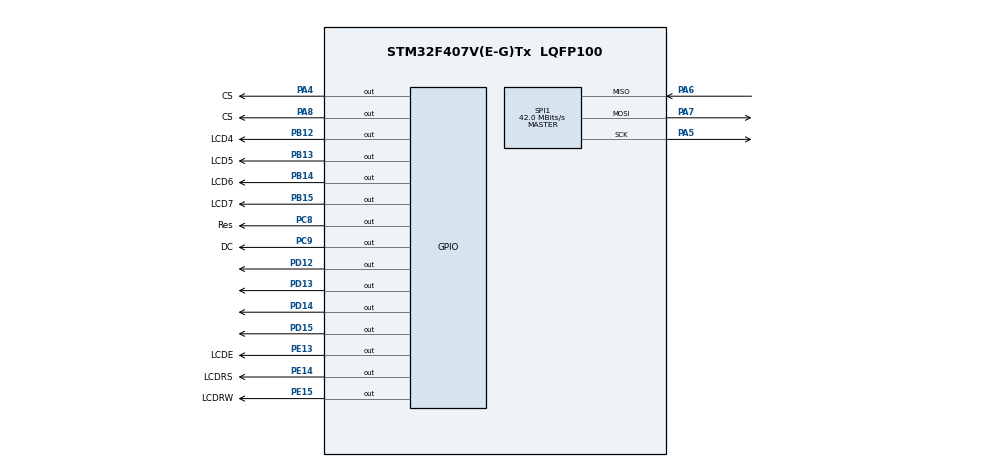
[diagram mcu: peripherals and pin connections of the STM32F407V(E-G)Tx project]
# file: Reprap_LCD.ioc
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Mcu.Family=STM32F4
Mcu.Name=STM32F407V(E-G)Tx
Mcu.Package=LQFP100
NVIC.PriorityGroup=NVIC_PRIORITYGROUP_4
PA13.Mode=Serial_Wire
PA13.Signal=SYS_JTMS-SWDIO
PA14.Mode=Serial_Wire
PA14.Signal=SYS_JTCK-SWCLK
PA4.GPIO_Label=CS
PA4.Signal=GPIO_Output
PA5.Mode=Full_Duplex_Master
PA5.Signal=SPI1_SCK
PA6.Mode=Full_Duplex_Master
PA6.Signal=SPI1_MISO
PA7.Mode=Full_Duplex_Master
PA7.Signal=SPI1_MOSI
PA8.GPIO_Label=CS
PA8.Signal=GPIO_Output
PB12.GPIO_Label=LCD4
PB12.Signal=GPIO_Output
PB13.GPIO_Label=LCD5
PB13.Signal=GPIO_Output
PB14.GPIO_Label=LCD6
PB14.Signal=GPIO_Output
PB15.GPIO_Label=LCD7
PB15.Signal=GPIO_Output
PC8.GPIO_Label=Res
PC8.Signal=GPIO_Output
PC9.GPIO_Label=DC
PC9.Signal=GPIO_Output
PD12.Signal=GPIO_Output
PD13.Signal=GPIO_Output
PD14.Signal=GPIO_Output
PD15.Signal=GPIO_Output
PE13.GPIO_Label=LCDE
PE13.Signal=GPIO_Output
PE14.GPIO_Label=LCDRS
PE14.Signal=GPIO_Output
PE15.GPIO_Label=LCDRW
PE15.Signal=GPIO_Output
PH0-OSC_IN.Mode=HSE-External-Oscillator
PH0-OSC_IN.Signal=RCC_OSC_IN
PH1-OSC_OUT.Mode=HSE-External-Oscillator
PH1-OSC_OUT.Signal=RCC_OSC_OUT
ProjectManager.HeapSize=0x200
ProjectManager.StackSize=0x400
ProjectManager.TargetToolchain=MDK-ARM V5.27
RCC.48MHZClocksFreq_Value=84000000
RCC.AHBFreq_Value=168000000
RCC.APB1CLKDivider=RCC_HCLK_DIV4
RCC.APB1Freq_Value=42000000
RCC.APB1TimFreq_Value=84000000
RCC.APB2CLKDivider=RCC_HCLK_DIV2
RCC.APB2Freq_Value=84000000
RCC.APB2TimFreq_Value=168000000
RCC.CortexFreq_Value=168000000
RCC.HCLKFreq_Value=168000000
RCC.HSE_VALUE=8000000
RCC.HSI_VALUE=16000000
RCC.LSE_VALUE=32768
RCC.PLLM=4
RCC.PLLN=168
RCC.PLLSourceVirtual=RCC_PLLSOURCE_HSE
RCC.SYSCLKFreq_VALUE=168000000
RCC.SYSCLKSource=RCC_SYSCLKSOURCE_PLLCLK
RCC.VCOOutputFreq_Value=336000000
SPI1.CalculateBaudRate=42.0 MBits/s
SPI1.Direction=SPI_DIRECTION_2LINES
SPI1.Mode=SPI_MODE_MASTER
SPI1.VirtualType=VM_MASTER
board=custom

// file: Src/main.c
/* USER CODE BEGIN Header */
/**
  ******************************************************************************
  * @file           : main.c
  * @brief          : Main program body
  ******************************************************************************
  * @attention
  *
  * <h2><center>&copy; Copyright (c) 2020 STMicroelectronics.
  * All rights reserved.</center></h2>
  *
  * This software component is licensed by ST under BSD 3-Clause license,
  * the "License"; You may not use this file except in compliance with the
  * License. You may obtain a copy of the License at:
  *                        opensource.org/licenses/BSD-3-Clause
  *
  ******************************************************************************
  */
/* USER CODE END Header */

#include "main.h"

/* USER CODE BEGIN Includes */
#include "u8g_arm.h"
/* USER CODE END Includes */

SPI_HandleTypeDef hspi1;

/* USER CODE BEGIN PV */
char *str1 = " A string to slide waaay out of here... MATE m8!";
char str2[48] = " Some numbers: 3.14564789 45 96354 pi...12345678";

/* USER CODE END PV */

//void SystemClock_Config(void);
static void MX_GPIO_Init(void);
static void MX_SPI1_Init(void);

/* USER CODE BEGIN 0 */
u8g_t u8g;

void draw(uint8_t pos)
{
  u8g_SetFont(&u8g, u8g_font_unifont);
  u8g_DrawStr(&u8g,  0, 12+pos, "Hello World!");
}

void none()
{
  uint8_t pos = 0;
  /*
    Please uncomment one of the displays below
    Notes:
      - "2x", "4x": high speed version, which uses more RAM
      - "hw_spi": All hardware SPI devices can be used with software SPI also.
	Access type is defined by u8g_com_hw_spi_fn
  */

   u8g_InitComFn(&u8g, &u8g_dev_ssd1306_128x64_hw_spi, u8g_com_hw_spi_fn);

  u8g_SetDefaultForegroundColor(&u8g);

  for(;;)
  {
    /* picture loop */
    u8g_FirstPage(&u8g);
    do
    {
      draw(pos);
    } while ( u8g_NextPage(&u8g) );

    /* refresh screen after some delay */
    u8g_Delay(100);

    /* update position */
    pos++;
    pos &= 15;
  }
}

/* USER CODE END 0 */

int main(void)
{
  /* USER CODE BEGIN 1 */
	none();
	draw(16);

  /* USER CODE END 1 */

  /* MCU Configuration--------------------------------------------------------*/

  /* Reset of all peripherals, Initializes the Flash interface and the Systick. */
  HAL_Init();

  /* Configure the system clock */
  //SystemClock_Config();

  /* Initialize all configured peripherals */
  MX_GPIO_Init();
  MX_SPI1_Init();

  /* Infinite loop */
  while (1)
  {

  }
}

//void SystemClock_Config(void)
//{
//  RCC_OscInitTypeDef RCC_OscInitStruct = {0};
//  RCC_ClkInitTypeDef RCC_ClkInitStruct = {0};

//  /** Configure the main internal regulator output voltage
//  */
//  __HAL_RCC_PWR_CLK_ENABLE();
//  __HAL_PWR_VOLTAGESCALING_CONFIG(PWR_REGULATOR_VOLTAGE_SCALE1);
//  /** Initializes the CPU, AHB and APB busses clocks
//  */
//  RCC_OscInitStruct.OscillatorType = RCC_OSCILLATORTYPE_HSE;
//  RCC_OscInitStruct.HSEState = RCC_HSE_ON;
//  RCC_OscInitStruct.PLL.PLLState = RCC_PLL_ON;
//  RCC_OscInitStruct.PLL.PLLSource = RCC_PLLSOURCE_HSE;
//  RCC_OscInitStruct.PLL.PLLM = 4;
//  RCC_OscInitStruct.PLL.PLLN = 168;
//  RCC_OscInitStruct.PLL.PLLP = RCC_PLLP_DIV2;
//  RCC_OscInitStruct.PLL.PLLQ = 4;
//  if (HAL_RCC_OscConfig(&RCC_OscInitStruct) != HAL_OK)
//  {
//    Error_Handler();
//  }
//  /** Initializes the CPU, AHB and APB busses clocks
//  */
//  RCC_ClkInitStruct.ClockType = RCC_CLOCKTYPE_HCLK|RCC_CLOCKTYPE_SYSCLK
//                              |RCC_CLOCKTYPE_PCLK1|RCC_CLOCKTYPE_PCLK2;
//  RCC_ClkInitStruct.SYSCLKSource = RCC_SYSCLKSOURCE_PLLCLK;
//  RCC_ClkInitStruct.AHBCLKDivider = RCC_SYSCLK_DIV1;
//  RCC_ClkInitStruct.APB1CLKDivider = RCC_HCLK_DIV4;
//  RCC_ClkInitStruct.APB2CLKDivider = RCC_HCLK_DIV2;

//  if (HAL_RCC_ClockConfig(&RCC_ClkInitStruct, FLASH_LATENCY_5) != HAL_OK)
//  {
//    Error_Handler();
//  }
//}

static void MX_SPI1_Init(void)
{

  /* SPI1 parameter configuration*/
  hspi1.Instance = SPI1;
  hspi1.Init.Mode = SPI_MODE_MASTER;
  hspi1.Init.Direction = SPI_DIRECTION_2LINES;
  hspi1.Init.DataSize = SPI_DATASIZE_8BIT;
  hspi1.Init.CLKPolarity = SPI_POLARITY_LOW;
  hspi1.Init.CLKPhase = SPI_PHASE_1EDGE;
  hspi1.Init.NSS = SPI_NSS_SOFT;
  hspi1.Init.BaudRatePrescaler = SPI_BAUDRATEPRESCALER_2;
  hspi1.Init.FirstBit = SPI_FIRSTBIT_MSB;
  hspi1.Init.TIMode = SPI_TIMODE_DISABLE;
  hspi1.Init.CRCCalculation = SPI_CRCCALCULATION_DISABLE;
  hspi1.Init.CRCPolynomial = 10;
  if (HAL_SPI_Init(&hspi1) != HAL_OK)
  {
    Error_Handler();
  }

}

static void MX_GPIO_Init(void)
{
  GPIO_InitTypeDef GPIO_InitStruct = {0};

  /* GPIO Ports Clock Enable */
  __HAL_RCC_GPIOH_CLK_ENABLE();
  __HAL_RCC_GPIOA_CLK_ENABLE();
  __HAL_RCC_GPIOE_CLK_ENABLE();
  __HAL_RCC_GPIOB_CLK_ENABLE();
  __HAL_RCC_GPIOD_CLK_ENABLE();
  __HAL_RCC_GPIOC_CLK_ENABLE();

  /*Configure GPIO pin Output Level */
  HAL_GPIO_WritePin(GPIOA, CS_Pin|CSA8_Pin, GPIO_PIN_RESET);

  /*Configure GPIO pin Output Level */
  HAL_GPIO_WritePin(GPIOE, LCDE_Pin|LCDRS_Pin|LCDRW_Pin, GPIO_PIN_RESET);

  /*Configure GPIO pin Output Level */
  HAL_GPIO_WritePin(GPIOB, LCD4_Pin|LCD5_Pin|LCD6_Pin|LCD7_Pin, GPIO_PIN_RESET);

  /*Configure GPIO pin Output Level */
  HAL_GPIO_WritePin(GPIOD, GPIO_PIN_12|GPIO_PIN_13|GPIO_PIN_14|GPIO_PIN_15, GPIO_PIN_RESET);

  /*Configure GPIO pin Output Level */
  HAL_GPIO_WritePin(GPIOC, Res_Pin|DC_Pin, GPIO_PIN_RESET);

  /*Configure GPIO pins : CS_Pin CSA8_Pin */
  GPIO_InitStruct.Pin = CS_Pin|CSA8_Pin;
  GPIO_InitStruct.Mode = GPIO_MODE_OUTPUT_PP;
  GPIO_InitStruct.Pull = GPIO_NOPULL;
  GPIO_InitStruct.Speed = GPIO_SPEED_FREQ_LOW;
  HAL_GPIO_Init(GPIOA, &GPIO_InitStruct);

  /*Configure GPIO pins : LCDE_Pin LCDRS_Pin LCDRW_Pin */
  GPIO_InitStruct.Pin = LCDE_Pin|LCDRS_Pin|LCDRW_Pin;
  GPIO_InitStruct.Mode = GPIO_MODE_OUTPUT_PP;
  GPIO_InitStruct.Pull = GPIO_NOPULL;
  GPIO_InitStruct.Speed = GPIO_SPEED_FREQ_LOW;
  HAL_GPIO_Init(GPIOE, &GPIO_InitStruct);

  /*Configure GPIO pins : LCD4_Pin LCD5_Pin LCD6_Pin LCD7_Pin */
  GPIO_InitStruct.Pin = LCD4_Pin|LCD5_Pin|LCD6_Pin|LCD7_Pin;
  GPIO_InitStruct.Mode = GPIO_MODE_OUTPUT_PP;
  GPIO_InitStruct.Pull = GPIO_NOPULL;
  GPIO_InitStruct.Speed = GPIO_SPEED_FREQ_LOW;
  HAL_GPIO_Init(GPIOB, &GPIO_InitStruct);

  /*Configure GPIO pins : PD12 PD13 PD14 PD15 */
  GPIO_InitStruct.Pin = GPIO_PIN_12|GPIO_PIN_13|GPIO_PIN_14|GPIO_PIN_15;
  GPIO_InitStruct.Mode = GPIO_MODE_OUTPUT_PP;
  GPIO_InitStruct.Pull = GPIO_NOPULL;
  GPIO_InitStruct.Speed = GPIO_SPEED_FREQ_LOW;
  HAL_GPIO_Init(GPIOD, &GPIO_InitStruct);

  /*Configure GPIO pins : Res_Pin DC_Pin */
  GPIO_InitStruct.Pin = Res_Pin|DC_Pin;
  GPIO_InitStruct.Mode = GPIO_MODE_OUTPUT_PP;
  GPIO_InitStruct.Pull = GPIO_NOPULL;
  GPIO_InitStruct.Speed = GPIO_SPEED_FREQ_LOW;
  HAL_GPIO_Init(GPIOC, &GPIO_InitStruct);

}

void Error_Handler(void)
{
}

/************************ (C) COPYRIGHT STMicroelectronics *****END OF FILE****/
